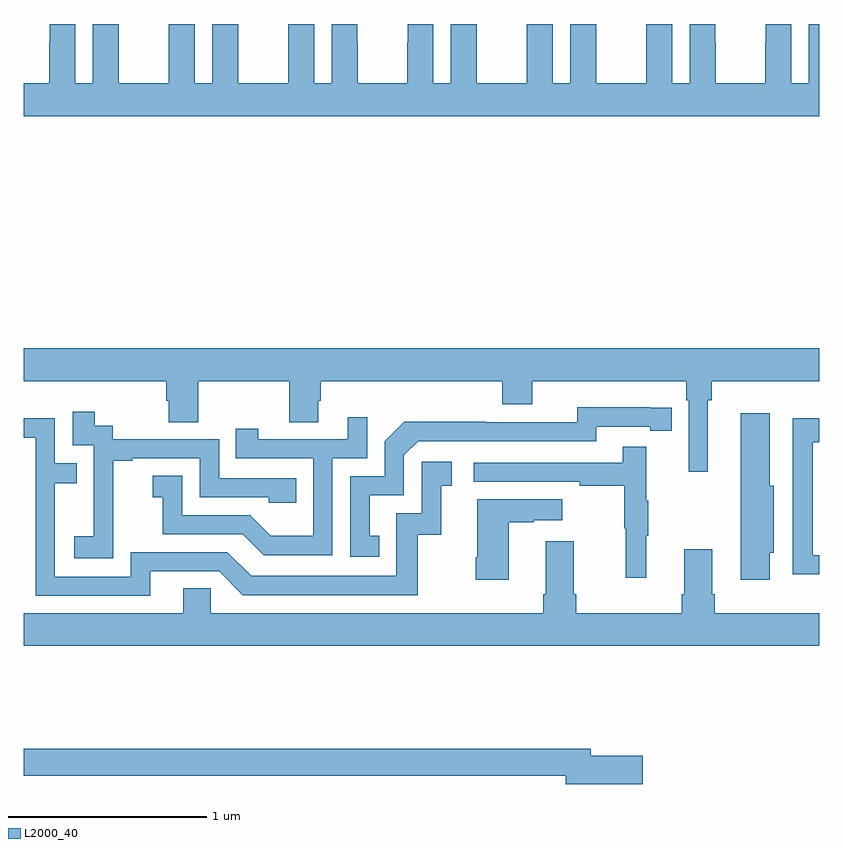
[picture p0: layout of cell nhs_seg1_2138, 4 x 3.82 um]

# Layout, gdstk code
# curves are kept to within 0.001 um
import gdstk
lib = gdstk.Library(unit=1e-6, precision=1e-09)
def P(c, l, *ps):  # polygons
    for p in ps: c.add(gdstk.Polygon(p, *l))
L2000_40 = (2000, 40)

nhs_seg1_2138 = lib.new_cell('nhs_seg1_2138')
P(nhs_seg1_2138, L2000_40, [(231,548.199),(230.948,548.199),(230.948,547.9),(230.86,547.9),(230.86,548.199),(230.73,548.199),(230.73,548.108),(230.729,548.108),(230.729,547.9),(230.479,547.9),(230.479,548.108),(230.478,548.108),(230.478,548.199),(230.348,548.199),(230.348,547.9),(230.26,547.9),(230.26,548.199),(230.13,548.199),(230.13,548.108),(230.129,548.108),(230.129,547.9),(229.879,547.9),(229.879,548.108),(229.878,548.108),(229.878,548.199),(229.748,548.199),(229.748,547.9),(229.66,547.9),(229.66,548.199),(229.53,548.199),(229.53,548.108),(229.529,548.108),(229.529,547.9),(229.279,547.9),(229.279,548.108),(229.278,548.108),(229.278,548.199),(229.148,548.199),(229.148,547.9),(229.06,547.9),(229.06,548.199),(228.93,548.199),(228.93,548.108),(228.929,548.108),(228.929,547.9),(228.679,547.9),(228.679,548.108),(228.678,548.108),(228.678,548.199),(228.548,548.199),(228.548,547.9),(228.46,547.9),(228.46,548.199),(228.33,548.199),(228.33,548.108),(228.329,548.108),(228.329,547.9),(228.079,547.9),(228.079,548.108),(228.078,548.108),(228.078,548.199),(227.948,548.199),(227.948,547.9),(227.86,547.9),(227.86,548.199),(227.73,548.199),(227.73,548.108),(227.729,548.108),(227.729,547.9),(227.479,547.9),(227.479,548.108),(227.478,548.108),(227.478,548.199),(227.348,548.199),(227.348,547.9),(227.26,547.9),(227.26,548.199),(227.13,548.199),(227.13,548.108),(227.129,548.108),(227.129,547.9),(227,547.9),(227,547.736),(231,547.736)],
  [(230.44,546.308),(230.459,546.308),(230.459,546.404),(231,546.404),(231,546.568),(227,546.568),(227,546.404),(227.717,546.404),(227.717,546.306),(227.729,546.306),(227.729,546.196),(227.877,546.196),(227.877,546.404),(228.334,546.404),(228.334,546.196),(228.481,546.196),(228.481,546.306),(228.494,546.306),(228.494,546.404),(229.406,546.404),(229.406,546.287),(229.558,546.287),(229.558,546.404),(230.33,546.404),(230.33,546.308),(230.343,546.308),(230.343,545.949),(230.44,545.949)],
  [(228.788,545.625),(228.739,545.625),(228.739,545.829),(228.912,545.829),(228.912,546.03),(228.984,546.102),(229.878,546.102),(229.878,546.174),(230.15,546.174),(230.15,546.154),(230.258,546.154),(230.258,546.27),(229.782,546.271),(229.782,546.198),(229.322,546.198),(229.322,546.2),(228.914,546.2),(228.816,546.102),(228.816,545.925),(228.642,545.925),(228.642,545.52),(228.788,545.52)],
  [(227.451,545.719),(227.45,545.719),(227.45,546.003),(227.545,546.003),(227.545,546.015),(227.886,546.015),(227.886,545.82),(228.231,545.82),(228.231,545.793),(228.371,545.793),(228.371,545.916),(227.982,545.916),(227.982,546.111),(227.448,546.111),(227.448,546.18),(227.356,546.18),(227.356,546.25),(227.247,546.25),(227.247,546.081),(227.352,546.081),(227.352,545.852),(227.351,545.852),(227.351,545.623),(227.253,545.623),(227.253,545.513),(227.451,545.513)],
  [(230.752,545.541),(230.77,545.541),(230.77,545.877),(230.752,545.877),(230.752,546.241),(230.606,546.241),(230.606,545.406),(230.752,545.406)],
  [(228.552,546.015),(228.726,546.015),(228.726,546.223),(228.629,546.223),(228.629,546.111),(228.178,546.111),(228.178,546.163),(228.067,546.163),(228.067,546.015),(228.456,546.015),(228.456,545.626),(228.242,545.626),(228.138,545.73),(227.796,545.73),(227.796,545.929),(227.649,545.929),(227.649,545.819),(227.698,545.819),(227.698,545.634),(228.101,545.634),(228.206,545.529),(228.552,545.529)],
  [(231,545.529),(230.968,545.529),(230.968,546.096),(231,546.096),(231,546.217),(230.867,546.217),(230.867,545.432),(231,545.432)],
  [(227.635,545.448),(227.982,545.448),(228.102,545.328),(228.982,545.328),(228.982,545.631),(229.1,545.631),(229.1,545.877),(229.153,545.877),(229.153,545.998),(229.002,545.998),(229.002,545.739),(228.873,545.739),(228.873,545.424),(228.144,545.424),(228.024,545.544),(227.538,545.544),(227.538,545.421),(227.157,545.421),(227.157,545.89),(227.267,545.89),(227.267,545.991),(227.157,545.991),(227.157,546.216),(227,546.216),(227,546.12),(227.061,546.12),(227.061,545.325),(227.635,545.325)],
  [(230.129,545.627),(230.14,545.627),(230.14,545.801),(230.129,545.801),(230.129,546.073),(230.011,546.073),(230.011,545.994),(229.263,545.994),(229.263,545.898),(229.795,545.898),(229.795,545.878),(230.019,545.878),(230.019,545.664),(230.026,545.664),(230.026,545.415),(230.129,545.415)],
  [(229.438,545.695),(229.565,545.695),(229.565,545.705),(229.708,545.705),(229.708,545.809),(229.28,545.809),(229.28,545.518),(229.273,545.518),(229.273,545.406),(229.438,545.406)],
  [(231,545.236),(230.474,545.236),(230.474,545.332),(230.461,545.332),(230.461,545.557),(230.321,545.557),(230.321,545.332),(230.309,545.332),(230.309,545.236),(229.778,545.236),(229.778,545.332),(229.765,545.332),(229.765,545.599),(229.625,545.599),(229.625,545.332),(229.613,545.332),(229.613,545.236),(227.94,545.236),(227.94,545.363),(227.801,545.363),(227.801,545.236),(227,545.236),(227,545.072),(231,545.072)],
  [(230.113,544.52),(229.852,544.52),(229.852,544.556),(227,544.556),(227,544.42),(229.724,544.42),(229.724,544.378),(230.113,544.378)])

lib.write_gds('nhs_seg1_2138.gds')
